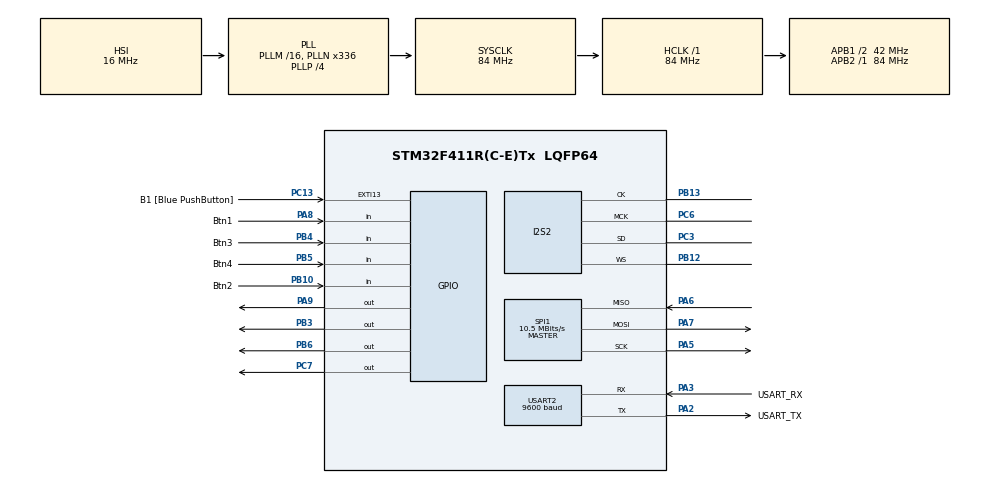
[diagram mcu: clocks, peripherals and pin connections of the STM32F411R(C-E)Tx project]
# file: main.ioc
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I2S2.AudioFreq=I2S_AUDIOFREQ_44K
I2S2.ErrorAudioFreq=-5.3 %
I2S2.FullDuplexMode=I2S_FULLDUPLEXMODE_DISABLE
I2S2.Instance=SPI$Index
I2S2.RealAudioFreq=41.666 KHz
I2S2.VirtualMode=I2S_MODE_MASTER
Mcu.Family=STM32F4
Mcu.Name=STM32F411R(C-E)Tx
Mcu.Package=LQFP64
NVIC.PriorityGroup=NVIC_PRIORITYGROUP_0
NVIC.SPI2_IRQn=true\:0\:0\:false\:false\:true\:true
PA13.GPIO_Label=TMS
PA13.Signal=SYS_JTMS-SWDIO
PA14.GPIO_Label=TCK
PA14.Signal=SYS_JTCK-SWCLK
PA2.GPIO_Label=USART_TX
PA2.Mode=Asynchronous
PA2.Signal=USART2_TX
PA3.GPIO_Label=USART_RX
PA3.Mode=Asynchronous
PA3.Signal=USART2_RX
PA5.Mode=Full_Duplex_Master
PA5.Signal=SPI1_SCK
PA6.Mode=Full_Duplex_Master
PA6.Signal=SPI1_MISO
PA7.Mode=Full_Duplex_Master
PA7.Signal=SPI1_MOSI
PA8.GPIO_Label=Btn1
PA8.Signal=GPIO_Input
PA9.Signal=GPIO_Output
PB10.GPIO_Label=Btn2
PB10.Signal=GPIO_Input
PB12.Mode=Half_Duplex_Master
PB12.Signal=I2S2_WS
PB13.Mode=Half_Duplex_Master
PB13.Signal=I2S2_CK
PB3.Signal=GPIO_Output
PB4.GPIO_Label=Btn3
PB4.Signal=GPIO_Input
PB5.GPIO_Label=Btn4
PB5.Signal=GPIO_Input
PB6.Signal=GPIO_Output
PC13-ANTI_TAMP.GPIO_Label=B1 [Blue PushButton]
PC13-ANTI_TAMP.GPIO_ModeDefaultEXTI=GPIO_MODE_IT_FALLING
PC13-ANTI_TAMP.Signal=GPXTI13
PC14-OSC32_IN.Signal=RCC_OSC32_IN
PC15-OSC32_OUT.Signal=RCC_OSC32_OUT
PC3.Mode=Half_Duplex_Master
PC3.Signal=I2S2_SD
PC6.Mode=Master_Clock_Activated
PC6.Signal=I2S2_MCK
PC7.Signal=GPIO_Output
PH0\ -\ OSC_IN.Signal=RCC_OSC_IN
PH1\ -\ OSC_OUT.Signal=RCC_OSC_OUT
ProjectManager.HeapSize=0x200
ProjectManager.StackSize=0x400
ProjectManager.TargetToolchain=Makefile
RCC.48MHZClocksFreq_Value=84000000
RCC.AHBFreq_Value=84000000
RCC.APB1CLKDivider=RCC_HCLK_DIV2
RCC.APB1Freq_Value=42000000
RCC.APB1TimFreq_Value=84000000
RCC.APB2Freq_Value=84000000
RCC.APB2TimFreq_Value=84000000
RCC.CortexFreq_Value=84000000
RCC.FLatency-AdvancedSettings=FLASH_LATENCY_2
RCC.HCLKFreq_Value=84000000
RCC.HSE_VALUE=8000000
RCC.HSI_VALUE=16000000
RCC.LSE_VALUE=32768
RCC.PLLN=336
RCC.PLLP=RCC_PLLP_DIV4
RCC.SYSCLKFreq_VALUE=84000000
RCC.SYSCLKSource=RCC_SYSCLKSOURCE_PLLCLK
RCC.VCOOutputFreq_Value=336000000
SPI1.BaudRatePrescaler=SPI_BAUDRATEPRESCALER_8
SPI1.CalculateBaudRate=10.5 MBits/s
SPI1.Direction=SPI_DIRECTION_2LINES
SPI1.Mode=SPI_MODE_MASTER
SPI1.VirtualType=VM_MASTER
USART2.BaudRate=9600
USART2.VirtualMode=VM_ASYNC
board=NUCLEO-F411RE

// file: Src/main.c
#include "main.h"
#include "stm32f4xx_hal.h"

/* USER CODE BEGIN Includes */
/* vim: set ai et ts=4 sw=4: */
#include <string.h>
#include <stdarg.h>
#include <math.h>
#include "sdcard.h"
#include "st7735.h"
#include "ff.h"
/* USER CODE END Includes */

I2S_HandleTypeDef hi2s2;

SPI_HandleTypeDef hspi1;

UART_HandleTypeDef huart2;

/* USER CODE BEGIN PV */
/* Private variables ---------------------------------------------------------*/

/* USER CODE END PV */

void SystemClock_Config(void);
static void MX_GPIO_Init(void);
static void MX_SPI1_Init(void);
static void MX_USART2_UART_Init(void);
static void MX_I2S2_Init(void);

/* USER CODE BEGIN PFP */
/* Private function prototypes -----------------------------------------------*/

/* USER CODE END PFP */

/* USER CODE BEGIN 0 */

FATFS fs;

volatile bool end_of_file_reached = false;
volatile bool read_next_chunk = false;
volatile uint16_t* signal_play_buff = NULL;
volatile uint16_t* signal_read_buff = NULL;
volatile uint16_t signal_buff1[4096];
volatile uint16_t signal_buff2[4096];

void HAL_I2S_TxCpltCallback(I2S_HandleTypeDef *hi2s) {
    if(end_of_file_reached)
        return;

    volatile uint16_t* temp = signal_play_buff;
    signal_play_buff = signal_read_buff;
    signal_read_buff = temp;

    int nsamples = sizeof(signal_buff1) / sizeof(signal_buff1[0]);
    HAL_I2S_Transmit_IT(&hi2s2, (uint16_t*)signal_play_buff, nsamples);
    read_next_chunk = true;
}

void UART_Printf(const char* fmt, ...) {
    char buff[256];
    va_list args;
    va_start(args, fmt);
    vsnprintf(buff, sizeof(buff), fmt, args);
    HAL_UART_Transmit(&huart2, (uint8_t*)buff, strlen(buff), HAL_MAX_DELAY);
    va_end(args);
}

int playWavFile(const char* fname) {
    UART_Printf("Openning %s...\r\n", fname);
    FIL file;
    FRESULT res = f_open(&file, fname, FA_READ);
    if(res != FR_OK) {
        UART_Printf("f_open() failed, res = %d\r\n", res);
        return -1;
    }

    UART_Printf("File opened, reading...\r\n");

    unsigned int bytesRead;
    uint8_t header[44];
    res = f_read(&file, header, sizeof(header), &bytesRead);
    if(res != FR_OK) {
        UART_Printf("f_read() failed, res = %d\r\n", res);
        f_close(&file);
        return -2;
    }

    if(memcmp((const char*)header, "RIFF", 4) != 0) {
        UART_Printf("Wrong WAV signature at offset 0: 0x%02X 0x%02X 0x%02X 0x%02X\r\n", header[0], header[1], header[2], header[3]);
        f_close(&file);
        return -3;
    }

    if(memcmp((const char*)header + 8, "WAVEfmt ", 8) != 0) {
        UART_Printf("Wrong WAV signature at offset 8!\r\n");
        f_close(&file);
        return -4;
    }

    if(memcmp((const char*)header + 36, "data", 4) != 0) {
        UART_Printf("Wrong WAV signature at offset 36!\r\n");
        f_close(&file);
        return -5;
    }

    uint32_t fileSize = 8 + (header[4] | (header[5] << 8) | (header[6] << 16) | (header[7] << 24));
    uint32_t headerSizeLeft = header[16] | (header[17] << 8) | (header[18] << 16) | (header[19] << 24);
    uint16_t compression = header[20] | (header[21] << 8);
    uint16_t channelsNum = header[22] | (header[23] << 8);
    uint32_t sampleRate = header[24] | (header[25] << 8) | (header[26] << 16) | (header[27] << 24);
    uint32_t bytesPerSecond = header[28] | (header[29] << 8) | (header[30] << 16) | (header[31] << 24);
    uint16_t bytesPerSample = header[32] | (header[33] << 8);
    uint16_t bitsPerSamplePerChannel = header[34] | (header[35] << 8);
    uint32_t dataSize = header[40] | (header[41] << 8) | (header[42] << 16) | (header[43] << 24);

    UART_Printf(
        "--- WAV header ---\r\n"
        "File size: %lu\r\n"
        "Header size left: %lu\r\n"
        "Compression (1 = no compression): %d\r\n"
        "Channels num: %d\r\n"
        "Sample rate: %ld\r\n"
        "Bytes per second: %ld\r\n"
        "Bytes per sample: %d\r\n"
        "Bits per sample per channel: %d\r\n"
        "Data size: %ld\r\n"
        "------------------\r\n",
        fileSize, headerSizeLeft, compression, channelsNum, sampleRate, bytesPerSecond, bytesPerSample,
        bitsPerSamplePerChannel, dataSize);

    if(headerSizeLeft != 16) {
        UART_Printf("Wrong `headerSizeLeft` value, 16 expected\r\n");
        f_close(&file);
        return -6;
    }

    if(compression != 1) {
        UART_Printf("Wrong `compression` value, 1 expected\r\n");
        f_close(&file);
        return -7;
    }

    if(channelsNum != 2) {
        UART_Printf("Wrong `channelsNum` value, 2 expected\r\n");
        f_close(&file);
        return -8;
    }

    if((sampleRate != 44100) || (bytesPerSample != 4) || (bitsPerSamplePerChannel != 16) || (bytesPerSecond != 44100*2*2)
       || (dataSize < sizeof(signal_buff1) + sizeof(signal_buff2))) {
        UART_Printf("Wrong file format, 16 bit file with sample rate 44100 expected\r\n");
        f_close(&file);
        return -9;
    }

    res = f_read(&file, (uint8_t*)signal_buff1, sizeof(signal_buff1), &bytesRead);
    if(res != FR_OK) {
        UART_Printf("f_read() failed, res = %d\r\n", res);
        f_close(&file);
        return -10;
    }

    res = f_read(&file, (uint8_t*)signal_buff2, sizeof(signal_buff2), &bytesRead);
    if(res != FR_OK) {
        UART_Printf("f_read() failed, res = %d\r\n", res);
        f_close(&file);
        return -11;
    }

    read_next_chunk = false;
    end_of_file_reached = false;
    signal_play_buff = signal_buff1;
    signal_read_buff = signal_buff2;

    HAL_StatusTypeDef hal_res;
    int nsamples = sizeof(signal_buff1) / sizeof(signal_buff1[0]);
    hal_res = HAL_I2S_Transmit_IT(&hi2s2, (uint16_t*)signal_buff1, nsamples);
    if(hal_res != HAL_OK) {
        UART_Printf("I2S - HAL_I2S_Transmit failed, hal_res = %d!\r\n", hal_res);
        f_close(&file);
        return -12;
    }

    while(dataSize >= sizeof(signal_buff1)) {
        if(!read_next_chunk) {
            continue;
        }

        read_next_chunk = false;

        res = f_read(&file, (uint8_t*)signal_read_buff, sizeof(signal_buff1), &bytesRead);
        if(res != FR_OK) {
            UART_Printf("f_read() failed, res = %d\r\n", res);
            f_close(&file);
            return -13;
        }

        dataSize -= sizeof(signal_buff1);
    }

    end_of_file_reached = true;

    res = f_close(&file);
    if(res != FR_OK) {
        UART_Printf("f_close() failed, res = %d\r\n", res);
        return -14;
    }

    return 0;
}

int init() {
    // unselect all SPI devices first
    SDCARD_Unselect();
    ST7735_Unselect();

    // initialize SD-card as fast as possible, it glitches otherwise
    // (this is important only if SPI bus is shared by multiple devices)
    int code = SDCARD_Init();
    if(code < 0) {
        UART_Printf("SDCARD_Init() failed, code = %d\r\n", code);
        return -1;
    }

    ST7735_Init();
    ST7735_FillScreen(ST7735_BLACK);

    // mount the default drive
    FRESULT res = f_mount(&fs, "", 0);
    if(res != FR_OK) {
        UART_Printf("f_mount() failed, res = %d\r\n", res);
        return -2;
    }
    UART_Printf("f_mount() done!\r\n");

    return 0;
}

void loop() {
    playWavFile("test.wav");
    HAL_Delay(5000);
}

/* USER CODE END 0 */

int main(void)
{

  /* MCU Configuration----------------------------------------------------------*/

  /* Reset of all peripherals, Initializes the Flash interface and the Systick. */
  HAL_Init();

  /* Configure the system clock */
  SystemClock_Config();

  /* Initialize all configured peripherals */
  MX_GPIO_Init();
  MX_SPI1_Init();
  MX_USART2_UART_Init();
  MX_I2S2_Init();

  /* Infinite loop */
  /* USER CODE BEGIN WHILE */
  int code = init();
  if(code < 0) {
    UART_Printf("init() failed with code %d, terminating.\r\n", code);
    return 0;
  }

  while (1)
  {
    loop();
  /* USER CODE END WHILE */

  }

}

/** System Clock Configuration
*/
void SystemClock_Config(void)
{

  RCC_OscInitTypeDef RCC_OscInitStruct;
  RCC_ClkInitTypeDef RCC_ClkInitStruct;
  RCC_PeriphCLKInitTypeDef PeriphClkInitStruct;

    /**Configure the main internal regulator output voltage
    */
  __HAL_RCC_PWR_CLK_ENABLE();

  __HAL_PWR_VOLTAGESCALING_CONFIG(PWR_REGULATOR_VOLTAGE_SCALE1);

    /**Initializes the CPU, AHB and APB busses clocks
    */
  RCC_OscInitStruct.OscillatorType = RCC_OSCILLATORTYPE_HSI;
  RCC_OscInitStruct.HSIState = RCC_HSI_ON;
  RCC_OscInitStruct.HSICalibrationValue = 16;
  RCC_OscInitStruct.PLL.PLLState = RCC_PLL_ON;
  RCC_OscInitStruct.PLL.PLLSource = RCC_PLLSOURCE_HSI;
  RCC_OscInitStruct.PLL.PLLM = 16;
  RCC_OscInitStruct.PLL.PLLN = 336;
  RCC_OscInitStruct.PLL.PLLP = RCC_PLLP_DIV4;
  RCC_OscInitStruct.PLL.PLLQ = 4;
  if (HAL_RCC_OscConfig(&RCC_OscInitStruct) != HAL_OK)
  {
    _Error_Handler(__FILE__, __LINE__);
  }

    /**Initializes the CPU, AHB and APB busses clocks
    */
  RCC_ClkInitStruct.ClockType = RCC_CLOCKTYPE_HCLK|RCC_CLOCKTYPE_SYSCLK
                              |RCC_CLOCKTYPE_PCLK1|RCC_CLOCKTYPE_PCLK2;
  RCC_ClkInitStruct.SYSCLKSource = RCC_SYSCLKSOURCE_PLLCLK;
  RCC_ClkInitStruct.AHBCLKDivider = RCC_SYSCLK_DIV1;
  RCC_ClkInitStruct.APB1CLKDivider = RCC_HCLK_DIV2;
  RCC_ClkInitStruct.APB2CLKDivider = RCC_HCLK_DIV1;

  if (HAL_RCC_ClockConfig(&RCC_ClkInitStruct, FLASH_LATENCY_2) != HAL_OK)
  {
    _Error_Handler(__FILE__, __LINE__);
  }

  PeriphClkInitStruct.PeriphClockSelection = RCC_PERIPHCLK_I2S;
  PeriphClkInitStruct.PLLI2S.PLLI2SN = 192;
  PeriphClkInitStruct.PLLI2S.PLLI2SM = 16;
  PeriphClkInitStruct.PLLI2S.PLLI2SR = 2;
  if (HAL_RCCEx_PeriphCLKConfig(&PeriphClkInitStruct) != HAL_OK)
  {
    _Error_Handler(__FILE__, __LINE__);
  }

    /**Configure the Systick interrupt time
    */
  HAL_SYSTICK_Config(HAL_RCC_GetHCLKFreq()/1000);

    /**Configure the Systick
    */
  HAL_SYSTICK_CLKSourceConfig(SYSTICK_CLKSOURCE_HCLK);

  /* SysTick_IRQn interrupt configuration */
  HAL_NVIC_SetPriority(SysTick_IRQn, 0, 0);
}

/* I2S2 init function */
static void MX_I2S2_Init(void)
{

  hi2s2.Instance = SPI2;
  hi2s2.Init.Mode = I2S_MODE_MASTER_TX;
  hi2s2.Init.Standard = I2S_STANDARD_PHILIPS;
  hi2s2.Init.DataFormat = I2S_DATAFORMAT_16B;
  hi2s2.Init.MCLKOutput = I2S_MCLKOUTPUT_ENABLE;
  hi2s2.Init.AudioFreq = I2S_AUDIOFREQ_44K;
  hi2s2.Init.CPOL = I2S_CPOL_LOW;
  hi2s2.Init.ClockSource = I2S_CLOCK_PLL;
  hi2s2.Init.FullDuplexMode = I2S_FULLDUPLEXMODE_DISABLE;
  if (HAL_I2S_Init(&hi2s2) != HAL_OK)
  {
    _Error_Handler(__FILE__, __LINE__);
  }

}

/* SPI1 init function */
static void MX_SPI1_Init(void)
{

  /* SPI1 parameter configuration*/
  hspi1.Instance = SPI1;
  hspi1.Init.Mode = SPI_MODE_MASTER;
  hspi1.Init.Direction = SPI_DIRECTION_2LINES;
  hspi1.Init.DataSize = SPI_DATASIZE_8BIT;
  hspi1.Init.CLKPolarity = SPI_POLARITY_LOW;
  hspi1.Init.CLKPhase = SPI_PHASE_1EDGE;
  hspi1.Init.NSS = SPI_NSS_SOFT;
  hspi1.Init.BaudRatePrescaler = SPI_BAUDRATEPRESCALER_8;
  hspi1.Init.FirstBit = SPI_FIRSTBIT_MSB;
  hspi1.Init.TIMode = SPI_TIMODE_DISABLE;
  hspi1.Init.CRCCalculation = SPI_CRCCALCULATION_DISABLE;
  hspi1.Init.CRCPolynomial = 10;
  if (HAL_SPI_Init(&hspi1) != HAL_OK)
  {
    _Error_Handler(__FILE__, __LINE__);
  }

}

/* USART2 init function */
static void MX_USART2_UART_Init(void)
{

  huart2.Instance = USART2;
  huart2.Init.BaudRate = 9600;
  huart2.Init.WordLength = UART_WORDLENGTH_8B;
  huart2.Init.StopBits = UART_STOPBITS_1;
  huart2.Init.Parity = UART_PARITY_NONE;
  huart2.Init.Mode = UART_MODE_TX_RX;
  huart2.Init.HwFlowCtl = UART_HWCONTROL_NONE;
  huart2.Init.OverSampling = UART_OVERSAMPLING_16;
  if (HAL_UART_Init(&huart2) != HAL_OK)
  {
    _Error_Handler(__FILE__, __LINE__);
  }

}

/** Configure pins as
        * Analog
        * Input
        * Output
        * EVENT_OUT
        * EXTI
*/
static void MX_GPIO_Init(void)
{

  GPIO_InitTypeDef GPIO_InitStruct;

  /* GPIO Ports Clock Enable */
  __HAL_RCC_GPIOC_CLK_ENABLE();
  __HAL_RCC_GPIOH_CLK_ENABLE();
  __HAL_RCC_GPIOA_CLK_ENABLE();
  __HAL_RCC_GPIOB_CLK_ENABLE();

  /*Configure GPIO pin Output Level */
  HAL_GPIO_WritePin(GPIOC, GPIO_PIN_7, GPIO_PIN_RESET);

  /*Configure GPIO pin Output Level */
  HAL_GPIO_WritePin(GPIOA, GPIO_PIN_9, GPIO_PIN_RESET);

  /*Configure GPIO pin Output Level */
  HAL_GPIO_WritePin(GPIOB, GPIO_PIN_3|GPIO_PIN_6, GPIO_PIN_RESET);

  /*Configure GPIO pin : B1_Pin */
  GPIO_InitStruct.Pin = B1_Pin;
  GPIO_InitStruct.Mode = GPIO_MODE_IT_FALLING;
  GPIO_InitStruct.Pull = GPIO_NOPULL;
  HAL_GPIO_Init(B1_GPIO_Port, &GPIO_InitStruct);

  /*Configure GPIO pins : Btn2_Pin Btn3_Pin Btn4_Pin */
  GPIO_InitStruct.Pin = Btn2_Pin|Btn3_Pin|Btn4_Pin;
  GPIO_InitStruct.Mode = GPIO_MODE_INPUT;
  GPIO_InitStruct.Pull = GPIO_NOPULL;
  HAL_GPIO_Init(GPIOB, &GPIO_InitStruct);

  /*Configure GPIO pin : PC7 */
  GPIO_InitStruct.Pin = GPIO_PIN_7;
  GPIO_InitStruct.Mode = GPIO_MODE_OUTPUT_PP;
  GPIO_InitStruct.Pull = GPIO_NOPULL;
  GPIO_InitStruct.Speed = GPIO_SPEED_FREQ_LOW;
  HAL_GPIO_Init(GPIOC, &GPIO_InitStruct);

  /*Configure GPIO pin : Btn1_Pin */
  GPIO_InitStruct.Pin = Btn1_Pin;
  GPIO_InitStruct.Mode = GPIO_MODE_INPUT;
  GPIO_InitStruct.Pull = GPIO_NOPULL;
  HAL_GPIO_Init(Btn1_GPIO_Port, &GPIO_InitStruct);

  /*Configure GPIO pin : PA9 */
  GPIO_InitStruct.Pin = GPIO_PIN_9;
  GPIO_InitStruct.Mode = GPIO_MODE_OUTPUT_PP;
  GPIO_InitStruct.Pull = GPIO_NOPULL;
  GPIO_InitStruct.Speed = GPIO_SPEED_FREQ_LOW;
  HAL_GPIO_Init(GPIOA, &GPIO_InitStruct);

  /*Configure GPIO pins : PB3 PB6 */
  GPIO_InitStruct.Pin = GPIO_PIN_3|GPIO_PIN_6;
  GPIO_InitStruct.Mode = GPIO_MODE_OUTPUT_PP;
  GPIO_InitStruct.Pull = GPIO_NOPULL;
  GPIO_InitStruct.Speed = GPIO_SPEED_FREQ_LOW;
  HAL_GPIO_Init(GPIOB, &GPIO_InitStruct);

}

void _Error_Handler(char * file, int line)
{
  while(1)
  {
  }
}

/************************ (C) COPYRIGHT STMicroelectronics *****END OF FILE****/
